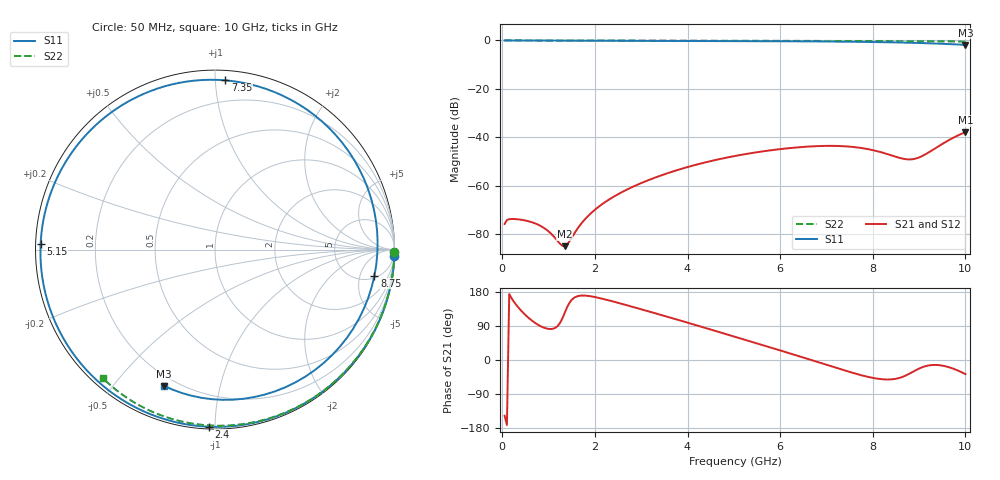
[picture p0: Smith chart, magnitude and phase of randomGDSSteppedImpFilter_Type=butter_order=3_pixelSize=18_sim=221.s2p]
! freq	dB(S11)	phase(S11)	dB(S12)	phase(S12)
!  dB(S21)	phase(S21)	dB(S22)	phase(S22)
!S-par simulation data
#  GHz  S  DB  R 50
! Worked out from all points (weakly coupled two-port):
!   200 points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, 50 MHz to 10 GHz, reference 50 ohm
!   highest |S21| = -37.95 dB at 10 GHz (marker M1); lowest = -85.0 dB at 1.35 GHz (marker M2)
!   lowest |S11| = -1.8 dB at 10 GHz (marker M3), VSWR 9.57, Z = 7.71 - j34.2 ohm
!   |S11| at or under -10 dB: nowhere
!   |S22| runs from -0.4 to 0.0 dB; largest |S21 - S12| = 0
!   S11 on the Smith chart (normalised r, x): 50 MHz: 0, -56; 2.4 GHz: 0.01, -0.97; 5.15 GHz: 0.01, +0.02; 7.35 GHz: 0.06, +1.06; 8.75 GHz: 6, -9; 10 GHz: 0.15, -0.68
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0.05  -0.00 -2.0  -75.87 -147.0  -75.87 -147.0  -0.00 -0.8
0.15  -0.00 -6.1  -73.90 174.0  -73.90 174.0  -0.00 -2.3
0.45  -0.01 -18.3  -74.24 124.7  -74.24 124.7  -0.01 -6.8
1.05  -0.05 -42.2  -79.82 81.7  -79.82 81.7  -0.02 -15.8
1.35  -0.07 -53.7  -85.05 125.1  -85.05 125.1  -0.03 -20.3
1.55  -0.08 -61.3  -79.95 164.1  -79.95 164.1  -0.03 -23.3
1.75  -0.08 -68.7  -74.69 170.1  -74.69 170.1  -0.03 -26.2
2.4  -0.11 -92.0  -64.65 154.1  -64.65 154.1  -0.05 -35.7
3.4  -0.15 -125.4  -55.99 119.9  -55.99 119.9  -0.07 -49.9
4.25  -0.19 -152.7  -51.05 89.5  -51.05 89.5  -0.09 -61.6
5.05  -0.24 -178.6  -47.67 60.3  -47.67 60.3  -0.11 -72.2
5.15  -0.25 178.0  -47.32 56.6  -47.32 56.6  -0.11 -73.5
5.95  -0.31 149.7  -45.04 27.1  -45.04 27.1  -0.14 -83.7
6.7  -0.39 118.8  -43.77 -1.1  -43.77 -1.1  -0.18 -93.0
7.35  -0.49 86.6  -43.70 -26.0  -43.70 -26.0  -0.22 -100.8
7.85  -0.60 56.8  -44.76 -43.2  -44.76 -43.2  -0.25 -106.7
8.35  -0.75 21.9  -47.19 -51.4  -47.19 -51.4  -0.29 -112.5
8.75  -0.91 -9.3  -49.16 -38.7  -49.16 -38.7  -0.32 -117.1
9.05  -1.07 -33.9  -47.94 -20.0  -47.94 -20.0  -0.35 -120.5
9.4  -1.30 -62.9  -43.97 -13.3  -43.97 -13.3  -0.38 -124.5
9.7  -1.54 -87.2  -40.60 -21.2  -40.60 -21.2  -0.41 -127.9
10  -1.82 -110.4  -37.95 -37.3  -37.95 -37.3  -0.44 -131.2
